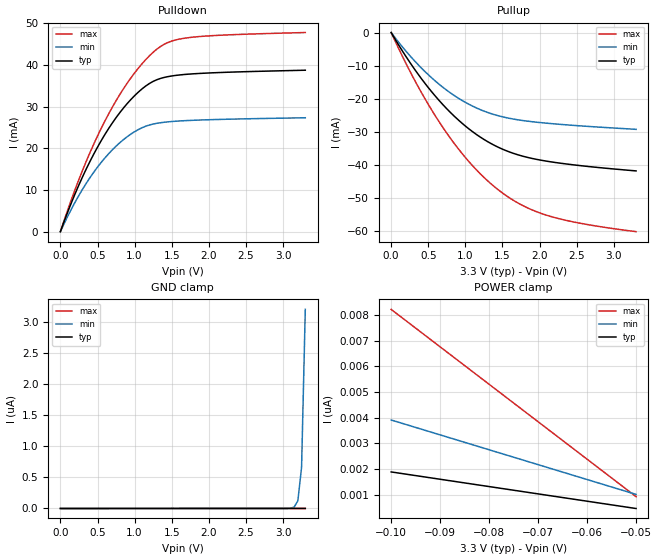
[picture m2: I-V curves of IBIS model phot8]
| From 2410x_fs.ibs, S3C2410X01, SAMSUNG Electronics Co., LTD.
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[Model] phot8
 Model_type  3-state
 Polarity   Non-Inverting
 Enable   Active-Low
|variable   typ   min   max
 C_comp   2pF   2pF   2pF
|variable   typ   min   max
[Temperature Range]   25.0   0   70
|variable   typ   min   max
[Voltage Range]   3.3V   3.0V   3.6V
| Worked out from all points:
|   slope of the pulldown table from 0 to 0.495 V, typ, clamps not added: 24.6 ohm
|   slope of the pullup table from 0 to 0.495 V, typ, clamps not added: 29.9 ohm
[Pullup]
|  voltage   I(typ)   I(min)   I(max)
0V        300.8pA    590.2pA    303.9pA
150mV     -5.547mA   -4.313mA   -7.144mA
350mV     -12.21mA   -9.421mA   -15.85mA
500mV     -16.67mA   -12.78mA   -21.76mA
700mV     -21.92mA   -16.64mA   -28.86mA
850mV     -25.34mA   -19.09mA   -33.6mA
1.05V     -29.23mA   -21.76mA   -39.17mA
1.4V      -34.27mA   -24.93mA   -46.87mA
1.75V     -37.31mA   -26.58mA   -52.14mA
2.1V      -38.98mA   -27.47mA   -55.38mA
2.6V      -40.44mA   -28.35mA   -57.99mA
3.3V      -41.91mA   -29.33mA   -60.31mA
[Pulldown]
|  voltage   I(typ)   I(min)   I(max)
0V        -382.9pA   -534.4pA   -921.6pA
150mV     7.014mA    5.48mA     7.786mA
300mV     13.2mA     10.22mA    14.78mA
450mV     18.63mA    14.27mA    21.02mA
650mV     24.74mA    18.69mA    28.24mA
800mV     28.54mA    21.32mA    32.88mA
1V        32.62mA    23.98mA    38.08mA
1.15V     34.94mA    25.29mA    41.27mA
1.3V      36.45mA    25.99mA    43.78mA
1.5V      37.35mA    26.42mA    45.72mA
1.75V     37.81mA    26.69mA    46.59mA
3.3V      38.73mA    27.33mA    47.77mA
[Ramp]
| variable   typ   min   max
dV/dt_r  1.8778E+00/3.8436E-10   1.6812E+00/5.3024E-10   2.0731E+00/2.9264E-10
dV/dt_f  1.8993E+00/3.3495E-10   1.7063E+00/4.5247E-10   2.0803E+00/2.8044E-10
R_load = 500ohms
[POWER_clamp]
|  voltage   I(typ)   I(min)   I(max)
-100mV    1.88nA     3.904nA    8.211nA
-50mV     455.5pA    1.005nA    917.9pA
[GND_clamp]
|  voltage   I(typ)   I(min)   I(max)
0V        -382.9pA   -534.4pA   -921.6pA
3V        224.3pA    590.2pA    95.41pA
3.1V      242.5pA    3.904nA    117.8pA
3.15V     252pA      21.89nA    128.9pA
3.2V      262.4pA    124.6nA    140.1pA
3.25V     275.7pA    663.7nA    151.2pA
3.3V      300.8pA    3.206uA    162.5pA
